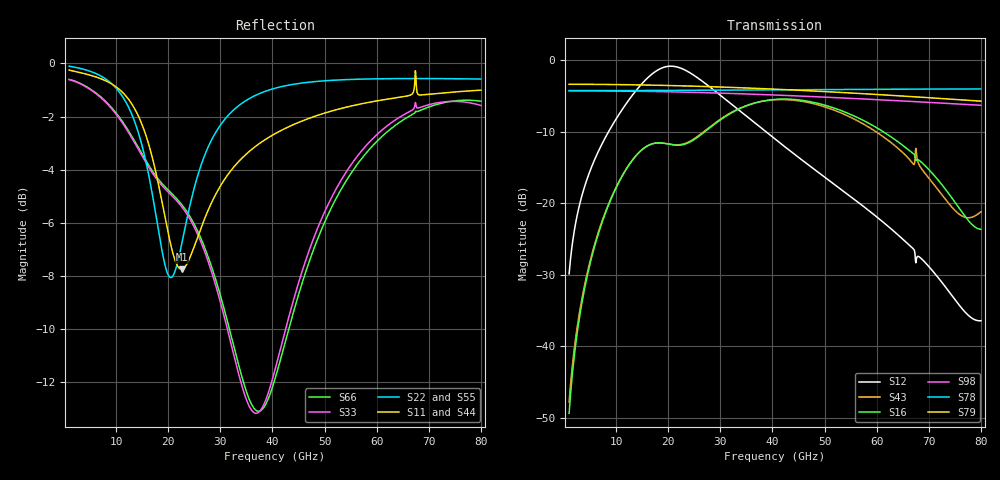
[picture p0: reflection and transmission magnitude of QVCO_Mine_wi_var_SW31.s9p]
! Touchstone Ver. 1.0
! Number of ports is 9
# Hz	S	RI	R	50.000000
! SCATTERING PARAMETERS  :
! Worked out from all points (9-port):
!   1001 points, 1 GHz to 80 GHz, reference 50 ohm
!   strongest paths, dB at 1 GHz, 20.75 GHz, 40.5 GHz, 60.25 GHz, 80 GHz:
!     S79: -3.4, -3.6, -4.1, -4.8, -5.8
!     S78: -4.3, -4.2, -4.2, -4.1, -4.0
!     S98: -4.3, -4.4, -4.9, -5.5, -6.3
!     S16: -49.4, -11.8, -5.5, -9.6, -23.7
!     S43: -47.8, -11.8, -5.6, -10.2, -21.2
!     S12: -29.9, -0.9, -11.0, -22.1, -36.5
!   lowest |S11| = -7.8 dB at 22.57 GHz (marker M1), VSWR 2.39, Z = 39.4 + j38.4 ohm
!   |S11| at or under -10 dB: nowhere
